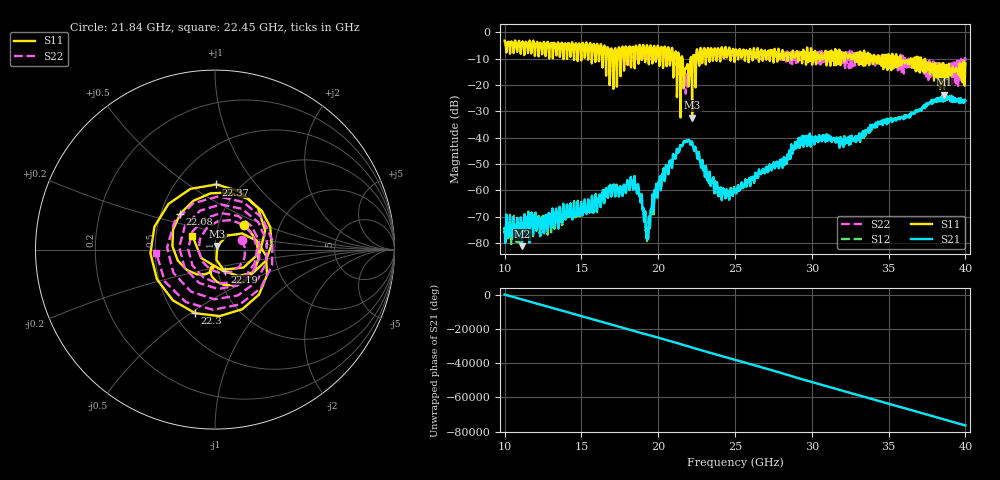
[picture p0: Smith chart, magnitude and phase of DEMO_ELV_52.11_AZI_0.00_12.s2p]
! 11/3/2026 12:52:00 PM
! C:\ANRITSUVNA\TEMP\TEMP.S2P
! CHANNEL.1
! TR.MEASUREMENT
! RAW.DATA
# HZ S RI R 50.0
! FREQ.HZ  S11RE  S11IM  S21RE  S21IM  S12RE  S12IM  S22RE  S22IM
!; PortSelection: Port_12
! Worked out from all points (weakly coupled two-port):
!   3001 points, 10 GHz to 40 GHz, reference 50 ohm
!   highest |S21| = -23.66 dB at 38.62 GHz (marker M1); lowest = -81.2 dB at 11.13 GHz (marker M2)
!   lowest |S11| = -32.4 dB at 22.21 GHz (marker M3), VSWR 1.05, Z = 51.3 + j2.09 ohm
!   |S11| at or under -10 dB: 21.59 GHz to 22.1 GHz (515.1 MHz wide, 2.36 % of centre); 35.78 GHz to 36.45 GHz (666.2 MHz wide, 1.84 % of centre); 37.12 GHz to end of sweep (the widest 3 of 109)
!   |S22| runs from -23.3 to -4.5 dB; largest |S21 - S12| = 0.082
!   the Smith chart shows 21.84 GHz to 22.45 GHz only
!   S11 on the Smith chart (normalised r, x): 21.84 GHz: 1.33, +0.38; 22.08 GHz: 0.63, +0.27; 22.19 GHz: 1.08, -0.27; 22.3 GHz: 0.63, -0.52; 22.37 GHz: 0.78, +0.65; 22.45 GHz: 0.77, +0.12
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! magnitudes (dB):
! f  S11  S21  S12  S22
! 10 GHz  -3.2  -74.3  -74.4  -4.7
! 11.13 GHz  -3.9  -81.2  -75.7  -5.4
! 15 GHz  -9.9  -64.9  -64.3  -6.4
! 16.96 GHz  -6.1  -62.1  -62.1  -6.9
! 18.34 GHz  -5.5  -58.1  -58.4  -11.7
! 18.81 GHz  -4.9  -62.1  -62.5  -8.3
! 19.33 GHz  -6.5  -76.3  -77.7  -7.3
! 20 GHz  -5.4  -58.2  -58.3  -7.4
! 21.84 GHz  -13.5  -41.2  -41.0  -16.0
! 22.08 GHz  -11.1  -42.1  -41.9  -14.8
! 22.19 GHz  -17.5  -41.4  -41.5  -14.0
! 22.21 GHz  -32.4  -41.7  -41.7  -12.7
! 22.3 GHz  -8.6  -43.8  -43.8  -11.4
! 22.37 GHz  -8.8  -44.6  -44.7  -10.0
! 22.45 GHz  -16.5  -44.4  -44.5  -9.7
! 23.78 GHz  -10.0  -59.2  -59.0  -9.4
! 25 GHz  -7.6  -60.5  -60.5  -8.3
! 30 GHz  -10.3  -39.6  -39.7  -8.0
! 33.02 GHz  -7.7  -40.4  -40.7  -9.1
! 35 GHz  -8.5  -34.0  -33.9  -11.0
! 38.62 GHz  -21.3  -23.7  -23.5  -16.8
! 40 GHz  -11.7  -26.1  -26.1  -12.3
